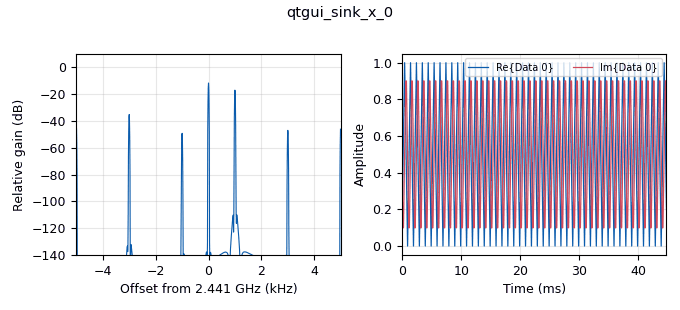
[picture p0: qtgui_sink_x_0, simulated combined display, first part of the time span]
<?xml version='1.0' encoding='utf-8'?>
<?grc format='1' created='3.7.13'?>
<flow_graph>
<block>
<key>options</key>
<param><key>id</key><value>test_autocorrelator</value></param>
<param><key>generate_options</key><value>qt_gui</value></param>
</block>
<block>
<key>variable</key>
<param><key>id</key><value>fac_decimation</value></param>
<param><key>value</key><value>10</value></param>
</block>
<block>
<key>variable</key>
<param><key>id</key><value>fac_size</value></param>
<param><key>value</key><value>512</value></param>
</block>
<block>
<key>variable</key>
<param><key>id</key><value>freq</value></param>
<param><key>value</key><value>2441e6</value></param>
</block>
<block>
<key>variable</key>
<param><key>id</key><value>samp_rate</value></param>
<param><key>value</key><value>10e3</value></param>
</block>
<block>
<key>variable</key>
<param><key>id</key><value>window_time</value></param>
<param><key>value</key><value>samp_rate/fac_size</value></param>
</block>
<block>
<key>analog_sig_source_x</key>
<param><key>id</key><value>analog_sig_source_x_0</value></param>
<param><key>amp</key><value>1</value></param>
<param><key>freq</key><value>1000</value></param>
<param><key>offset</key><value>0</value></param>
<param><key>type</key><value>complex</value></param>
<param><key>samp_rate</key><value>samp_rate</value></param>
<param><key>waveform</key><value>analog.GR_TRI_WAVE</value></param>
</block>
<block>
<key>blocks_throttle</key>
<param><key>id</key><value>blocks_throttle_0</value></param>
<param><key>samples_per_second</key><value>samp_rate</value></param>
<param><key>type</key><value>complex</value></param>
</block>
<block>
<key>blocks_vector_to_stream</key>
<param><key>id</key><value>blocks_vector_to_stream_0</value></param>
<param><key>type</key><value>float</value></param>
<param><key>num_items</key><value>fac_size</value></param>
</block>
<block>
<key>import</key>
<param><key>id</key><value>import_0</value></param>
<param><key>import</key><value>import math</value></param>
</block>
<block>
<key>mesa_AutoCorrelatorSink</key>
<param><key>id</key><value>mesa_AutoCorrelatorSink_1</value></param>
<param><key>autoScale</key><value>False</value></param>
<param><key>fac_decimation</key><value>10</value></param>
<param><key>fac_size</key><value>512</value></param>
<param><key>gui_hint</key><value>2,0,1,3</value></param>
<param><key>useDB</key><value>False</value></param>
<param><key>sampRate</key><value>samp_rate</value></param>
<param><key>grid</key><value>True</value></param>
<param><key>title</key><value>Fast Autocorrelation Sink</value></param>
<param><key>yMax</key><value>1</value></param>
<param><key>yMin</key><value>0</value></param>
</block>
<block>
<key>mesa_AutoCorrelator</key>
<param><key>id</key><value>mesa_AutoCorrelator_0</value></param>
<param><key>fac_decimation</key><value>fac_decimation</value></param>
<param><key>fac_size</key><value>fac_size</value></param>
<param><key>useDB</key><value>False</value></param>
<param><key>sampRate</key><value>samp_rate</value></param>
</block>
<block>
<key>mesa_Normalize</key>
<param><key>id</key><value>mesa_Normalize_0</value></param>
<param><key>vecsize</key><value>fac_size</value></param>
</block>
<block>
<key>note</key>
<param><key>id</key><value>note_0</value></param>
<param><key>note</key><value>Access to the Correlated Data</value></param>
</block>
<block>
<key>note</key>
<param><key>id</key><value>note_0_0</value></param>
<param><key>note</key><value>Direct Plot</value></param>
</block>
<block>
<key>qtgui_sink_x</key>
<param><key>id</key><value>qtgui_sink_x_0</value></param>
<param><key>bw</key><value>samp_rate</value></param>
<param><key>fc</key><value>freq</value></param>
<param><key>freqchangevar</key><value>None</value></param>
<param><key>fftsize</key><value>1024</value></param>
<param><key>gui_hint</key><value>0,0,1,3</value></param>
<param><key>plotconst</key><value>False</value></param>
<param><key>showports</key><value>True</value></param>
<param><key>type</key><value>complex</value></param>
<param><key>wintype</key><value>firdes.WIN_BLACKMAN_hARRIS</value></param>
</block>
<block>
<key>qtgui_time_sink_x</key>
<param><key>id</key><value>qtgui_time_sink_x_1</value></param>
<param><key>autoscale</key><value>True</value></param>
<param><key>gui_hint</key><value>1,0,1,3</value></param>
<param><key>grid</key><value>True</value></param>
<param><key>legend</key><value>False</value></param>
<param><key>color1</key><value>"blue"</value></param>
<param><key>label1</key><value></value></param>
<param><key>name</key><value>Fast Autocorrelation</value></param>
<param><key>size</key><value>fac_size/2</value></param>
<param><key>srate</key><value>samp_rate</value></param>
<param><key>type</key><value>float</value></param>
<param><key>ylabel</key><value>dB</value></param>
</block>
<connection><source_block_id>analog_sig_source_x_0</source_block_id><sink_block_id>blocks_throttle_0</sink_block_id><source_key>0</source_key><sink_key>0</sink_key></connection>
<connection><source_block_id>blocks_throttle_0</source_block_id><sink_block_id>mesa_AutoCorrelatorSink_1</sink_block_id><source_key>0</source_key><sink_key>0</sink_key></connection>
<connection><source_block_id>blocks_throttle_0</source_block_id><sink_block_id>mesa_AutoCorrelator_0</sink_block_id><source_key>0</source_key><sink_key>0</sink_key></connection>
<connection><source_block_id>blocks_throttle_0</source_block_id><sink_block_id>qtgui_sink_x_0</sink_block_id><source_key>0</source_key><sink_key>0</sink_key></connection>
<connection><source_block_id>blocks_vector_to_stream_0</source_block_id><sink_block_id>qtgui_time_sink_x_1</sink_block_id><source_key>0</source_key><sink_key>0</sink_key></connection>
<connection><source_block_id>mesa_AutoCorrelator_0</source_block_id><sink_block_id>mesa_Normalize_0</sink_block_id><source_key>0</source_key><sink_key>0</sink_key></connection>
<connection><source_block_id>mesa_Normalize_0</source_block_id><sink_block_id>blocks_vector_to_stream_0</sink_block_id><source_key>0</source_key><sink_key>0</sink_key></connection>
</flow_graph>
